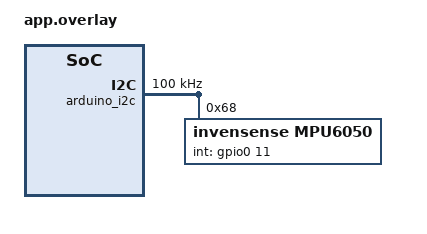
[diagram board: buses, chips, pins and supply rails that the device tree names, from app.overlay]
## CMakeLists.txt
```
#
# Copyright (c) 2019 Nordic Semiconductor ASA
#
# SPDX-License-Identifier: Apache-2.0
#

cmake_minimum_required(VERSION 3.28.0)
find_package(Zephyr REQUIRED HINTS $ENV{ZEPHYR_BASE})
project(mpu6050)

FILE(GLOB app_sources src/*.c)
target_sources(app PRIVATE ${app_sources})
```

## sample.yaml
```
#
# Copyright (c) 2019 Nordic Semiconductor ASA
#
# SPDX-License-Identifier: Apache-2.0
#

sample:
  name: MPU6050 Sensor Sample
tests:
  sample.sensor.mpu6050:
    build_only: true
    platform_allow:
      - nrf52dk/nrf52832
    tags: sensors
```

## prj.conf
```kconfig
#
# Copyright (c) 2019 Nordic Semiconductor ASA
#
# SPDX-License-Identifier: Apache-2.0
#

CONFIG_I2C=y
CONFIG_SENSOR=y
CONFIG_MPU6050_TRIGGER_NONE=y
CONFIG_MPU6050_SMPLRT_DIV=249
CONFIG_CBPRINTF_FP_SUPPORT=y
```

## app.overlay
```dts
/*
 * Copyright (c) 2019, 2021 Nordic Semiconductor ASA
 *
 * SPDX-License-Identifier: Apache-2.0
 */

&arduino_i2c {
	status = "okay";
	clock-frequency = <I2C_BITRATE_STANDARD>;

	mpu6050@68 {
		compatible = "invensense,mpu6050";
		reg = <0x68>;
		status = "okay";
		label = "MPU6050";
		int-gpios = <&gpio0 11 GPIO_ACTIVE_HIGH>;
	};
};
```

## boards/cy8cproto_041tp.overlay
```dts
/*
 * SPDX-FileCopyrightText: Copyright (c) 2026 Infineon Technologies AG,
 * SPDX-FileCopyrightText: or an affiliate of Infineon Technologies AG. All rights reserved.
 *
 * SPDX-License-Identifier: Apache-2.0
 */

i2c1: &scb1 {
	compatible = "infineon,i2c";
	clocks = <&peri_clk_div2>;
	pinctrl-0 = <&p6_3_scb1_i2c_scl &p6_4_scb1_i2c_sda>;
	pinctrl-names = "default";
	#address-cells = <1>;
	#size-cells = <0>;
	status = "okay";

	mpu6050@68 {
		compatible = "invensense,mpu6050";
		reg = <0x68>;
		smplrt-div = <249>;
		status = "okay";
	};
};
```

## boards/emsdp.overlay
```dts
/*
 * Copyright (c) 2023 Synopsys
 *
 * SPDX-License-Identifier: Apache-2.0
 */

&i2c0 {
	mpu6050@68 {
		compatible = "invensense,mpu6050";
		reg = <0x68>;
		status = "okay";
	};
};
```

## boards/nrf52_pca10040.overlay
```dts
/*
 * Copyright (c) 2019 Nordic Semiconductor ASA
 *
 * SPDX-License-Identifier: Apache-2.0
 */

&i2c0 {
	mpu6050@68 {
		compatible = "invensense,mpu6050";
		reg = <0x68>;
		status = "okay";
		label = "MPU6050";
		int-gpios = <&gpio0 11 GPIO_ACTIVE_HIGH>;
	};
};
```

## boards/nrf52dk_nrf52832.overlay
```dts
/*
 * Copyright (c) 2019 Nordic Semiconductor ASA
 *
 * SPDX-License-Identifier: Apache-2.0
 */

&i2c0 {
	mpu6050@68 {
		compatible = "invensense,mpu6050";
		reg = <0x68>;
		status = "okay";
		int-gpios = <&gpio0 11 GPIO_ACTIVE_HIGH>;
		smplrt-div = <249>;
	};
};
```

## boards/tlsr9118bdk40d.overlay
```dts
/*
 * Copyright (c) 2022 Telink Semiconductor
 *
 * SPDX-License-Identifier: Apache-2.0
 */

&i2c0 {
	mpu6050@68 {
		compatible = "invensense,mpu6050";
		reg = <0x68>;
		status = "okay";
	};
};
```

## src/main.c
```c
/*
 * Copyright (c) 2019 Nordic Semiconductor ASA
 *
 * SPDX-License-Identifier: Apache-2.0
 */

#include <zephyr/kernel.h>
#include <zephyr/device.h>
#include <zephyr/drivers/sensor.h>
#include <stdio.h>

static const char *now_str(void)
{
	static char buf[16]; /* ...HH:MM:SS.MMM */
	uint32_t now = k_uptime_get_32();
	unsigned int ms = now % MSEC_PER_SEC;
	unsigned int s;
	unsigned int min;
	unsigned int h;

	now /= MSEC_PER_SEC;
	s = now % 60U;
	now /= 60U;
	min = now % 60U;
	now /= 60U;
	h = now;

	snprintf(buf, sizeof(buf), "%u:%02u:%02u.%03u",
		 h, min, s, ms);
	return buf;
}

static int process_mpu6050(const struct device *dev)
{
	struct sensor_value temperature;
	struct sensor_value accel[3];
	struct sensor_value gyro[3];
	int rc = sensor_sample_fetch(dev);

	if (rc == 0) {
		rc = sensor_channel_get(dev, SENSOR_CHAN_ACCEL_XYZ,
					accel);
	}
	if (rc == 0) {
		rc = sensor_channel_get(dev, SENSOR_CHAN_GYRO_XYZ,
					gyro);
	}
	if (rc == 0) {
		rc = sensor_channel_get(dev, SENSOR_CHAN_DIE_TEMP,
					&temperature);
	}
	if (rc == 0) {
		printf("[%s]:%g Cel\n"
		       "  accel %f %f %f m/s/s\n"
		       "  gyro  %f %f %f rad/s\n",
		       now_str(),
		       sensor_value_to_double(&temperature),
		       sensor_value_to_double(&accel[0]),
		       sensor_value_to_double(&accel[1]),
		       sensor_value_to_double(&accel[2]),
		       sensor_value_to_double(&gyro[0]),
		       sensor_value_to_double(&gyro[1]),
		       sensor_value_to_double(&gyro[2]));
	} else {
		printf("sample fetch/get failed: %d\n", rc);
	}

	return rc;
}

#ifdef CONFIG_MPU6050_TRIGGER
static struct sensor_trigger trigger;

static void handle_mpu6050_drdy(const struct device *dev,
				const struct sensor_trigger *trig)
{
	int rc = process_mpu6050(dev);

	if (rc != 0) {
		printf("cancelling trigger due to failure: %d\n", rc);
		(void)sensor_trigger_set(dev, trig, NULL);
		return;
	}
}
#endif /* CONFIG_MPU6050_TRIGGER */

int main(void)
{
	const struct device *const mpu6050 = DEVICE_DT_GET_ONE(invensense_mpu6050);

	if (!device_is_ready(mpu6050)) {
		printf("Device %s is not ready\n", mpu6050->name);
		return 0;
	}

#ifdef CONFIG_MPU6050_TRIGGER
	trigger = (struct sensor_trigger) {
		.type = SENSOR_TRIG_DATA_READY,
		.chan = SENSOR_CHAN_ALL,
	};
	if (sensor_trigger_set(mpu6050, &trigger,
			       handle_mpu6050_drdy) < 0) {
		printf("Cannot configure trigger\n");
		return 0;
	}
	printk("Configured for triggered sampling.\n");
#endif

	while (!IS_ENABLED(CONFIG_MPU6050_TRIGGER)) {
		int rc = process_mpu6050(mpu6050);

		if (rc != 0) {
			break;
		}
		k_sleep(K_SECONDS(2));
	}

	/* triggered runs with its own thread after exit */
	return 0;
}
```
